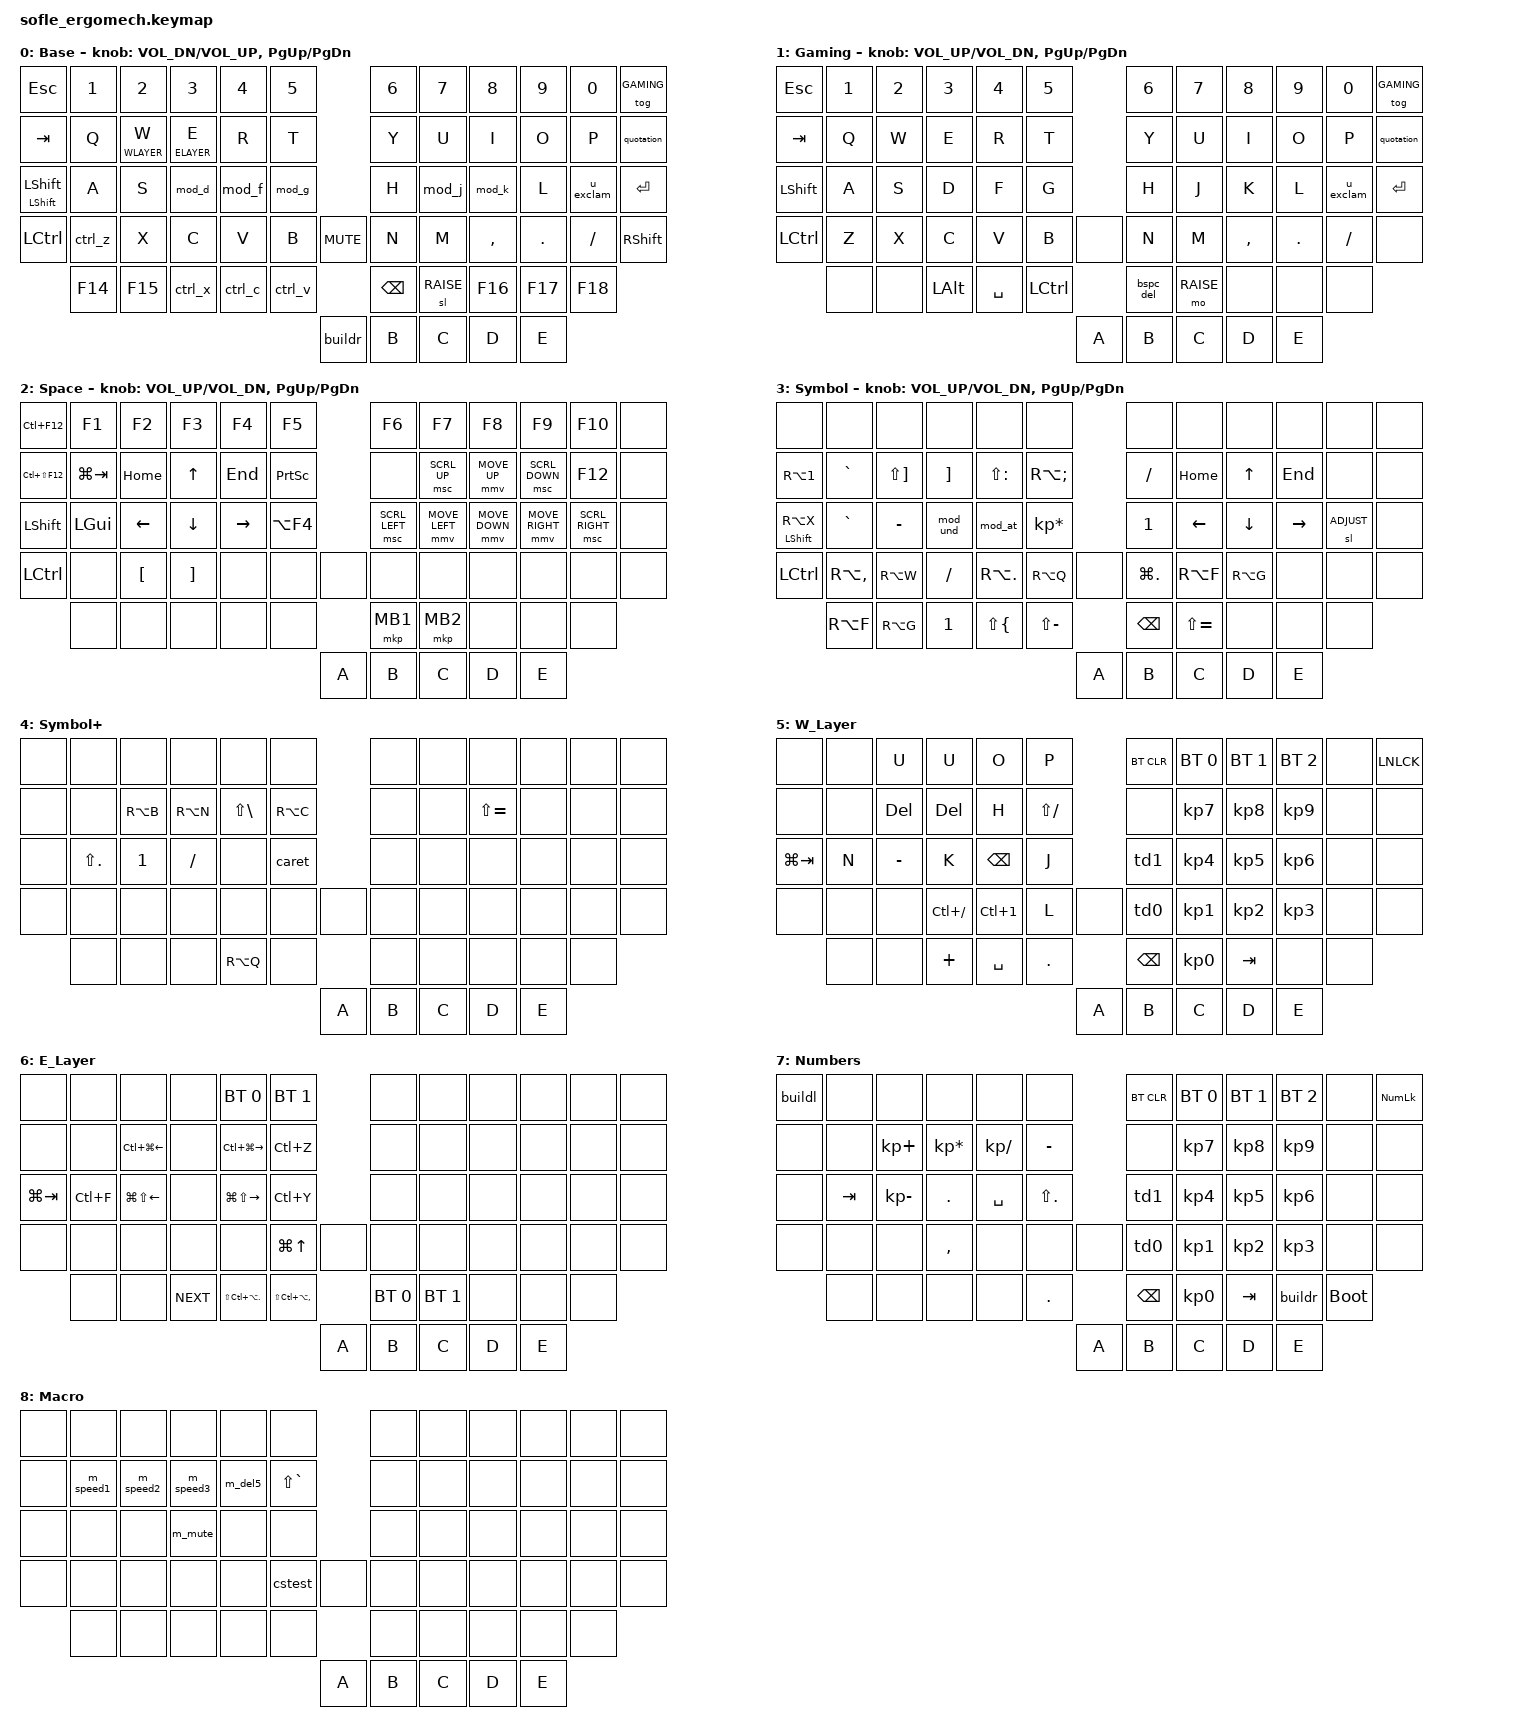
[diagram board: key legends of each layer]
/*
 * Copyright (c) 2020 The ZMK Contributors
 *
 * SPDX-License-Identifier: MIT
 */

#include <behaviors.dtsi>
#include <dt-bindings/zmk/keys.h>
#include <dt-bindings/zmk/bt.h>
#include <dt-bindings/zmk/rgb.h>
#include <dt-bindings/zmk/ext_power.h>

#define ZMK_POINTING_DEFAULT_MOVE_VAL 1000  // default: 600
#define ZMK_POINTING_DEFAULT_SCRL_VAL 500    // default: 10

#include <dt-bindings/zmk/pointing.h>

#define BASE 0
#define GAMING 1
#define LOWER 2
#define RAISE 3
#define ADJUST 4
#define WLAYER 5
#define ELAYER 6
#define NLAYER 7
#define MACRO 8

// Caps Word
&caps_word {
    continue-list = <UNDERSCORE MINUS LS(SLASH) BACKSPACE>;
};

// Layer Tap
&lt {
    quick-tap-ms = <200>;
    tapping-term-ms = <200>;
};

// Sticky key
&sk {
    release-after-ms = <2000>;
    quick-release;
    /delete-property/ ignore-modifiers;
};

// Mouse Movement
&mmv {
    x-input-code = <INPUT_REL_X>;
    y-input-code = <INPUT_REL_Y>;
    time-to-max-speed-ms = <200>;
    acceleration-exponent = <1>;
};

// Mouse Scroll
&msc {
    x-input-code = <INPUT_REL_HWHEEL>;
    y-input-code = <INPUT_REL_WHEEL>;
    time-to-max-speed-ms = <1000>;
    acceleration-exponent = <2>;
};

/ {
    combos {
        compatible = "zmk,combos";
        combo_rename {
            timeout-ms = <50>;
            key-positions = <1 2>;
            bindings = <&kp F2>;
        };

        combo_m {
            timeout-ms = <25>;
            key-positions = <15 16>;
            bindings = <&kp M>;
            layers = <0 2 3 4 5 6>;  
        };

        combo_off {
            timeout-ms = <25>;
            key-positions = <0 11>;
            bindings = <&kp C_POWER>;
        };

        combo_o {
            timeout-ms = <50>;
            key-positions = <26 28>;
            bindings = <&kp O>;
            layers = <0 2 3 4 5 6>;  
        };

        combo_i {
            timeout-ms = <50>;
            key-positions = <26 27 28>;
            bindings = <&kp I>;
            layers = <0 2 3 4 5 6>;  
        };

        combo_task {
            timeout-ms = <50>;
            key-positions = <5 6>;
            bindings = <&kp LC(LS(ESC))>;
        };
        
        combo_f10 {
            timeout-ms = <50>;
            key-positions = <3 4 5>;
            bindings = <&kp F10>;
        };

        combo_sound {
            timeout-ms = <50>;
            key-positions = <25 29>;
            bindings = <&kp LG(A)>;
        };
        
        combo_lock {
            timeout-ms = <50>;
            key-positions = <10 11>;
            bindings = <&kp LG(L)>;
        };

        combo_ctrl_t {
            timeout-ms = <50>;
            key-positions = <17 53>;
            bindings = <&kp LC(T)>;
        };

        combo_win_e {
            timeout-ms = <50>;
            key-positions = <15 53>;
            bindings = <&kp LG(E)>;
            layers = <0 2 3 4 5 6>;  
        };

        combo_esc {
            timeout-ms = <50>;
            key-positions = <15 26 28>;
            bindings = <&kp F5>;
            layers = <0 2 3 4 5 6>;  
        };

        combo_we {
            timeout-ms = <30>;
            key-positions = <14 15>;
            bindings = <&kp ESC>;
            layers = <0 2 3 4 5 6>; 
        };

        combo_al {
            timeout-ms = <30>;
            key-positions = <25 33>;
            bindings = <&caps_word>;
        };

        combo_wk {
            timeout-ms = <50>;
            key-positions = <14 32>;
            bindings = <&kp TAB>;
        };

        combo_wl {
            timeout-ms = <50>;
            key-positions = <14 33>;
            bindings = <&kp CAPS>; 
        };

        combo_45 {
            timeout-ms = <50>;
            key-positions = <4 5>;
            bindings = <&kp LC(LS(ESC))>;
        };

        combo_f24 {
            timeout-ms = <50>;
            key-positions = <14 15 16>;
            bindings = <&kp F24>;
        };

        combo_sticky {
            timeout-ms = <50>;
            key-positions = <13 14>;
            bindings = <&sl MACRO>;
        };

        combo_prscrn {
            timeout-ms = <50>;
            key-positions = <16 17>;
            bindings = <&kp PSCRN>;
        };

    };
};

/ {
    macros {
        m_speed1: m_speed1 {
            compatible = "zmk,behavior-macro";
            #binding-cells = <0>;
            wait-ms = <200>;
            tap-ms = <20>;
            bindings
                = <&macro_tap &kp LS(R)>
                ,<&macro_wait_time 20>
                ,<&macro_tap &kp KP_N2 &kp KP_N0 &kp KP_N0>
                ,<&macro_wait_time 20>
                ,<&macro_tap &kp ENTER>
                ,<&macro_wait_time 20>
                ,<&macro_tap &kp LS(LC(LA(O)))>
                ,<&macro_tap &kp LS(LC(LA(O)))>
                ,<&macro_tap &kp LS(LC(LA(O)))>
                ,<&macro_tap &kp LS(LC(LA(O)))>
                ,<&macro_tap &kp LS(LC(LA(O)))>
                ,<&macro_tap &kp LS(LC(LA(O)))>
                ,<&macro_tap &kp LS(LC(LA(O)))>
                ,<&macro_tap &kp LS(LC(LA(O)))>
                ,<&macro_tap &kp LS(LC(LA(O)))>
                ,<&macro_tap &kp LS(LC(LA(O)))>
                ,<&macro_tap &kp LS(LC(LA(O)))>
                ;
        };
            m_speed2: m_speed2 {
            compatible = "zmk,behavior-macro";
            #binding-cells = <0>;
            wait-ms = <200>;
            tap-ms = <20>;
            bindings
                = <&macro_tap &kp LS(R)>
                ,<&macro_wait_time 20>
                ,<&macro_tap &kp KP_N4 &kp KP_N0 &kp KP_N0>
                ,<&macro_wait_time 20>
                ,<&macro_tap &kp ENTER>
                ,<&macro_wait_time 20>
                ,<&macro_tap &kp LS(LC(LA(O)))>
                ,<&macro_tap &kp LS(LC(LA(O)))>
                ,<&macro_tap &kp LS(LC(LA(O)))>
                ,<&macro_tap &kp LS(LC(LA(O)))>
                ,<&macro_tap &kp LS(LC(LA(O)))>
                ,<&macro_tap &kp LS(LC(LA(O)))>
                ,<&macro_tap &kp LS(LC(LA(O)))>
                ,<&macro_tap &kp LS(LC(LA(O)))>
                ,<&macro_tap &kp LS(LC(LA(O)))>
                ,<&macro_tap &kp LS(LC(LA(O)))>
                ,<&macro_tap &kp LS(LC(LA(O)))>
                ;
        };
            m_speed3: m_speed3 {
            compatible = "zmk,behavior-macro";
            #binding-cells = <0>;
            wait-ms = <200>;
            tap-ms = <20>;
            bindings
                = <&macro_tap &kp LS(R)>
                ,<&macro_wait_time 20>
                ,<&macro_tap &kp KP_N8 &kp KP_N0 &kp KP_N0>
                ,<&macro_wait_time 20>
                ,<&macro_tap &kp ENTER>
                ,<&macro_wait_time 20>
                ,<&macro_tap &kp LS(LC(LA(O)))>
                ,<&macro_tap &kp LS(LC(LA(O)))>
                ,<&macro_tap &kp LS(LC(LA(O)))>
                ,<&macro_tap &kp LS(LC(LA(O)))>
                ,<&macro_tap &kp LS(LC(LA(O)))>
                ,<&macro_tap &kp LS(LC(LA(O)))>
                ,<&macro_tap &kp LS(LC(LA(O)))>
                ,<&macro_tap &kp LS(LC(LA(O)))>
                ,<&macro_tap &kp LS(LC(LA(O)))>
                ,<&macro_tap &kp LS(LC(LA(O)))>
                ,<&macro_tap &kp LS(LC(LA(O)))>
                ;
        };
            m_del5: m_del5 {
            compatible = "zmk,behavior-macro";
            #binding-cells = <0>;
            wait-ms = <20>;
            tap-ms = <20>;
            bindings
                = 
                <&macro_tap &kp LS(LC(LA(L)))>
                ,<&macro_tap &kp RIGHT>
                ,<&macro_tap &kp RIGHT>
                ,<&macro_tap &kp RIGHT>
                ,<&macro_tap &kp RIGHT>
                ,<&macro_tap &kp RIGHT>
                ,<&macro_tap &kp Q>
                ,<&macro_tap &kp LEFT>
                ,<&macro_tap &kp LEFT>
                ,<&macro_tap &kp LEFT>
                ,<&macro_tap &kp LEFT>
                ,<&macro_tap &kp LEFT>
                ,<&macro_tap &kp LEFT>
                ,<&macro_tap &kp LEFT>
                ,<&macro_tap &kp LEFT>
                ,<&macro_tap &kp LEFT>
                ,<&macro_tap &kp LEFT>
                ,<&macro_tap &kp LEFT>
                ,<&macro_tap &kp LEFT>
                ,<&macro_tap &kp LEFT>
                ,<&macro_tap &kp LEFT>
                ,<&macro_tap &kp LEFT>
                ,<&macro_tap &kp LEFT>
                ,<&macro_tap &kp SPACE>
                ;
        };
            m_mute: m_mute {
            compatible = "zmk,behavior-macro";
            #binding-cells = <0>;
            wait-ms = <20>;
            tap-ms = <20>;
            bindings
                = 
                <&macro_tap &kp LS(LC(LA(O)))>
                ,<&macro_tap &kp LS(LC(LA(O)))>
                ,<&macro_tap &kp LS(LC(LA(O)))>
                ,<&macro_tap &kp LS(LC(LA(O)))>
                ,<&macro_tap &kp LS(LC(LA(O)))>
                ,<&macro_tap &kp LS(LC(LA(O)))>
                ,<&macro_tap &kp LS(LC(LA(O)))>
                ,<&macro_tap &kp LS(LC(LA(O)))>
                ,<&macro_tap &kp LS(LC(LA(O)))>
                ,<&macro_tap &kp LS(LC(LA(O)))>
                ,<&macro_tap &kp LS(LC(LA(O)))>
                ;
        };
            caret: caret {
            compatible = "zmk,behavior-macro";
            #binding-cells = <0>;
            wait-ms = <1>;
            tap-ms = <1>;
            bindings
            = <&macro_press &kp LALT>
            , <&macro_tap &kp KP_N9 &kp KP_N4>
            , <&macro_release &kp LALT>
            ;

        };

            buildl: buildl {
            compatible = "zmk,behavior-macro";
            #binding-cells = <0>;
            wait-ms = <40>;
            tap-ms = <40>;
            bindings
            = <&macro_tap &kp LS(LC(LA(LEFT)))>
            , <&macro_tap &bootloader>
            ;

        };

            buildr: buildr {
            compatible = "zmk,behavior-macro";
            #binding-cells = <0>;
            wait-ms = <100>;
            tap-ms = <100>;
            bindings
            = <&macro_tap &kp LS(LC(LA(RIGHT)))>
            ;

        };
            cstest: cstest {
            compatible = "zmk,behavior-macro";
            #binding-cells = <0>;
            wait-ms = <40>;
            tap-ms = <40>;
            bindings
                = 
                <&macro_tap &kp N1>
                ,<&macro_tap &kp DOT &kp B &kp K &kp K &kp ENTER>
                ,<&macro_tap &kp DOT &kp F &kp T &kp M &kp ENTER>
                ,<&macro_tap &kp DOT &kp M &kp P &kp I &kp ENTER>
                 ;
        };


    };
};

/ {
    

    behaviors {
        bhm: balanced_homerow_mods {
            compatible = "zmk,behavior-hold-tap";
            #binding-cells = <2>;
            tapping-term-ms = <150>;    // <---[[moderate duration]]
            quick-tap-ms = <200>;
            //require-prior-idle-ms = <125>;
            flavor = "balanced";
            bindings = <&kp>, <&kp>;
            hold-while-undecided;
        };
    };

        behaviors {
        ebhm: enhanced_balanced_homerow_mods {
            compatible = "zmk,behavior-hold-tap";
            #binding-cells = <2>;
            tapping-term-ms = <150>;    // <---[[moderate duration]]
            quick-tap-ms = <200>;
            //require-prior-idle-ms = <125>;
            flavor = "balanced";
            bindings = <&kp>, <&sl>;
            hold-while-undecided;
        };
    };

    behaviors {
        lkp: layer_keypress {
            compatible = "zmk,behavior-hold-tap";
            #binding-cells = <2>;
            tapping-term-ms = <200>;    // <---[[moderate duration]]
            quick-tap-ms = <200>;
            require-prior-idle-ms = <125>;
            flavor = "tap-preferred";
            bindings = <&mo>, <&kp>;
        };
    };

    behaviors {
        lshift: lshift_hold_tap {
            compatible = "zmk,behavior-hold-tap";
            #binding-cells = <2>;
            flavor = "balanced";
            tapping-term-ms = <400>;
            quick-tap-ms = <200>;
            bindings = <&kp>, <&sk>;
        };
    };
    
    behaviors {
        td0: tap_dance_0 {
            compatible = "zmk,behavior-tap-dance";
            #binding-cells = <0>;
            tapping-term-ms = <300>;
            bindings = <&kp KP_MULTIPLY>, <&kp KP_DIVIDE>;
        };
    };

    behaviors {
        td1: tap_dance_1 {
            compatible = "zmk,behavior-tap-dance";
            #binding-cells = <0>;
            tapping-term-ms = <300>;
            bindings = <&kp KP_MINUS>, <&kp KP_PLUS>; 
        };
    };

    behaviors {
        quotation: quotation {
            compatible = "zmk,behavior-mod-morph"; 
            #binding-cells = <0>;
            bindings = <&kp LS(BSLH)>, <&kp SEMI>;
            mods = <(MOD_LSFT|MOD_RSFT)>;
            keep-mods = <(MOD_LSFT)>;
        };
    };

    behaviors {
        bspc_hacek: backspace_hacek {
            compatible = "zmk,behavior-mod-morph";
            #binding-cells = <0>;
            bindings = <&kp ENTER>, <&kp EQUAL>;
            mods = <(MOD_LSFT|MOD_RSFT)>;
            keep-mods = <(MOD_LSFT)>;
        };
    };

    behaviors {
        u_exclam: u_exclam {
            compatible = "zmk,behavior-mod-morph";
            #binding-cells = <0>;
            bindings = <&kp SEMI>, <&kp SQT>;
            mods = <(MOD_LSFT|MOD_RSFT)>;
            keep-mods = <(MOD_LSFT)>;
        };
    };
    
    behaviors {
        ctrl_z: ctrl_z {
            compatible = "zmk,behavior-mod-morph";
            #binding-cells = <0>;
            bindings = <&kp Z>, <&kp Y>;
            mods = <(MOD_LCTL)>;
            keep-mods = <(MOD_LCTL)>;
        };
    }; 

    behaviors {
        ctrl_c: ctrl_c {
            compatible = "zmk,behavior-mod-morph";
            #binding-cells = <0>;
            bindings = <&lkp LOWER SPACE>, <&kp C>;
            mods = <(MOD_LCTL)>;
            keep-mods = <(MOD_LCTL)>;
        };
    };

    behaviors {
        bspc_del: bspc_del {
            compatible = "zmk,behavior-mod-morph";
            #binding-cells = <0>;
            bindings = <&kp BACKSPACE>, <&kp DEL>;
            mods = <(MOD_LSFT)>;
        };
    };

    //Ctrl V
    behaviors {
        ctrl_v: ctrl_v {
            compatible = "zmk,behavior-mod-morph";
            #binding-cells = <0>;
            bindings = <&bhm LALT ENTER>, <&kp V>;
            mods = <(MOD_LCTL)>;
            keep-mods = <(MOD_LCTL)>;
        };
    };
    
 behaviors {
        ctrl_x: ctrl_x {
            compatible = "zmk,behavior-mod-morph";
            #binding-cells = <0>;
            bindings = <&sl NLAYER>, <&kp X>;
            mods = <(MOD_LCTL)>;
            keep-mods = <(MOD_LCTL)>;
        };
    };

 behaviors {
        mod_f: mod_f {
            compatible = "zmk,behavior-mod-morph";
            #binding-cells = <0>;
            bindings = <&bhm LCTL F>, <&kp F>;
            mods = <(MOD_LSFT)>;
            keep-mods = <(MOD_LSFT)>;
        };
    };
    
 behaviors {
        mod_g: mod_g {
            compatible = "zmk,behavior-mod-morph";
            #binding-cells = <0>;
            bindings = <&bhm LC(LS(LALT)) G>, <&kp G>;
            mods = <(MOD_LGUI|MOD_LSFT|MOD_RGUI|MOD_RSFT|MOD_LCTL)>;
            keep-mods = <(MOD_LGUI|MOD_LSFT|MOD_RGUI|MOD_RSFT|MOD_LCTL)>;
        };
    };

 behaviors {
        mod_d: mod_d {
            compatible = "zmk,behavior-mod-morph";
            #binding-cells = <0>;
            bindings = <&bhm LSHFT D>, <&kp D>;
            mods = <(MOD_LSFT)>;
            keep-mods = <(MOD_LSFT)>;
        };
    };

 behaviors {
        mod_j: mod_j {
            compatible = "zmk,behavior-mod-morph";
            #binding-cells = <0>;
            bindings = <&bhm LCTL J>, <&kp J>;
            mods = <(MOD_LSFT)>;
            keep-mods = <(MOD_LSFT)>;
        };
    };

 behaviors {
        mod_k: mod_k {
            compatible = "zmk,behavior-mod-morph";
            #binding-cells = <0>;
            bindings = <&bhm LSHFT K>, <&kp K>;
            mods = <(MOD_LSFT)>;
            keep-mods = <(MOD_LSFT)>;
        };
    };
    
 behaviors {
        mod_at: mod_at {
            compatible = "zmk,behavior-mod-morph";
            #binding-cells = <0>;
            bindings = <&bhm LCTL RA(V)>, <&kp RA(V)>;
            mods = <(MOD_LSFT)>;
            keep-mods = <(MOD_LSFT)>;
        };
    };

 behaviors {
        mod_und: mod_und {
            compatible = "zmk,behavior-mod-morph";
            #binding-cells = <0>;
            bindings = <&bhm LSFT LS(SLASH)>, <&kp LS(SLASH)>;
            mods = <(MOD_LSFT)>;
            keep-mods = <(MOD_LSFT)>;
        };
    };
    
 

   // Activate ADJUST layer by pressing raise and lower
    //conditional_layers {
    //    compatible = "zmk,conditional-layers";
    //    adjust_layer {
    //        if-layers = <LOWER RAISE>;
    //        then-layer = <ADJUST>;
    //    };
    //}; 

    keymap {
        compatible = "zmk,keymap";

        default_layer {
            display-name = "Base";
            
// ------------------------------------------------------------------------------------------------------------
// |   `   |  1  |  2  |  3   |  4   |  5   |                   |  6   |  7    |  8    |  9   |   0   |       |
// |  ESC  |  Q  |  W  |  E   |  R   |  T   |                   |  Y   |  U    |  I    |  O   |   P   | BKSPC |
// |  TAB  |  A  |  S  |  D   |  F   |  G   |                   |  H   |  J    |  K    |  L   |   ;   |   '   |
// | SHIFT |  Z  |  X  |  C   |  V   |  B   |  MUTE  |  |       |  N   |  M    |  ,    |  .   |   /   | SHIFT |
//               | GUI | ALT  | CTRL | LOWER|  ENTER |  | SPACE | RAISE| CTRL  | ALT   | GUI  |
            bindings = <
&kp ESC             &kp N1       &kp N2       &kp N3         &kp N4       &kp N5                            &kp N6          &kp N7      &kp N8    &kp N9    &kp N0     &tog GAMING
&kp TAB             &kp Q        &lt WLAYER W &lt ELAYER E   &kp R        &kp T                             &kp Y           &kp U       &kp I     &kp O     &kp P      &quotation
&lshift LSHFT LSHFT &kp A        &kp S        &mod_d         &mod_f       &mod_g                            &kp H           &mod_j      &mod_k    &kp L     &u_exclam  &kp ENTER
&kp LCTRL           &ctrl_z      &kp X        &kp C          &kp V        &kp B            &kp C_MUTE       &kp N           &kp M       &kp COMMA &kp DOT   &kp FSLH   &kp RSHFT
                       &kp F14      &kp F15    &ctrl_x      &ctrl_c  &ctrl_v                            &kp BSPC        &sl RAISE   &kp F16 &kp F17 &kp F18
                                                                                     &buildr     &kp B  &kp C &kp D  &kp E
            >;

            sensor-bindings = <&inc_dec_kp C_VOL_DN C_VOL_UP &inc_dec_kp PG_UP PG_DN>;
        };

        gmng_layer {
            display-name = "Gaming";
// ----------------------------------------------------------------------------------------------------------------------------
// |        |         |         |         |         |         |                  |      |      |       |      |       |       |
// |        |         |         |         |         |         |                  |      |      |       |      |       |       |
// |        |         |         |         |         |         |                  |      |      |       |      |       |       |
// |        |         |         |         |         |         |         | |      |      |      |       |      |       |       |
//                    |         |         |         |         |         | |      |      |      |       |      |

            bindings = <
&kp ESC           &kp N1          &kp N2          &kp N3          &kp N4          &kp N5                                            &kp N6          &kp N7          &kp N8          &kp N9          &kp N0          &tog GAMING
&kp TAB           &kp Q           &kp W           &kp E           &kp R           &kp T                                             &kp Y           &kp U           &kp I           &kp O           &kp P           &quotation
&kp LSHFT         &kp A           &kp S           &kp D           &kp F           &kp G                                             &kp H           &kp J           &kp K           &kp L           &u_exclam       &kp ENTER
&kp LCTL          &kp Z           &kp X           &kp C           &kp V           &kp B            &none                            &kp N           &kp M           &kp COMMA       &kp DOT         &kp FSLH        &none
                                  &none            &none            &kp LALT           &kp SPACE   &kp LCTL         &bspc_del       &mo RAISE       &none           &none           &none
                                                                                                                    &kp A      &kp B  &kp C &kp D  &kp E
            >;

            sensor-bindings = <&inc_dec_kp C_VOL_UP C_VOL_DN &inc_dec_kp PG_UP PG_DN>;
        };

        lower_layer {
            display-name = "Space";
// ----------------------------------------------------------------------------------------------------------------------------
// |        |         |         |         |         |         |                  |      |      |       |      |       |       |
// |        |         |         |         |         |         |                  |      |      |       |      |       |       |
// |        |         |         |         |         |         |                  |      |      |       |      |       |       |
// |        |         |         |         |         |         |         | |      |      |      |       |      |       |       |
//                    |         |         |         |         |         | |      |      |      |       |      |

            bindings = <
&kp LC(F12)       &kp F1          &kp F2          &kp F3          &kp F4          &kp F5                                            &kp F6          &kp F7          &kp F8          &kp F9          &kp F10         &none
&kp LC(LS(F12))   &kp LG(TAB)     &kp HOME        &kp UP          &kp END         &kp PSCRN                                         &none           &msc SCRL_UP    &mmv MOVE_UP    &msc SCRL_DOWN  &kp F12         &none
&kp LSHFT         &kp LGUI        &kp LEFT        &kp DOWN        &kp RIGHT       &kp LA(F4)                                        &msc SCRL_LEFT  &mmv MOVE_LEFT  &mmv MOVE_DOWN  &mmv MOVE_RIGHT &msc SCRL_RIGHT &none
&kp LCTL          &none           &kp LBKT        &kp RBKT        &none           &none            &none                            &none           &none           &none           &none           &none           &none
                                  &none           &none           &none           &none            &none           &mkp MB1         &mkp MB2        &none           &none           &none
                                                                                                                    &kp A      &kp B  &kp C &kp D  &kp E
            >;
            sensor-bindings = <&inc_dec_kp C_VOL_UP C_VOL_DN &inc_dec_kp PG_UP PG_DN>;
        };

        raise_layer {
            display-name = "Symbol";
// ----------------------------------------------------------------------------------------------------------------------------
// |        |         |         |         |         |         |                  |      |      |       |      |       |       |
// |        |         |         |         |         |         |                  |      |      |       |      |       |       |
// |        |         |         |         |         |         |                  |      |      |       |      |       |       |
// |        |         |         |         |         |         |         | |      |      |      |       |      |       |       |
//                    |         |         |         |         |         | |      |      |      |       |      |

            bindings = <
&none              &none           &none           &none           &none           &none                                             &none           &none           &none           &none           &none           &none 
&kp RA(N1)         &kp GRAVE       &kp LS(RBKT)    &kp RBKT        &kp LS(COLON)   &kp RA(SEMI)                                      &kp FSLH        &kp HOME        &kp UP          &kp END         &none           &none
&bhm LSHFT RA(X)   &kp GRAVE       &kp MINUS       &mod_und        &mod_at         &kp KP_MULTIPLY                                   &kp N1          &kp LEFT        &kp DOWN        &kp RIGHT       &sl ADJUST      &none
&kp LCTL           &kp RA(COMMA)   &kp RA(W)       &kp FSLH        &kp RA(DOT)     &kp RA(Q)        &none                            &kp LG(DOT)     &kp RA(F)       &kp RA(G)       &none           &none           &none
                                   &kp RA(F)       &kp RA(G)       &kp N1          &kp LS(LBRC)     &kp LS(MINUS)   &kp BACKSPACE    &kp LS(EQUAL)   &none           &none           &none
                                                                                                                    &kp A      &kp B  &kp C &kp D  &kp E
            >;

            sensor-bindings = <&inc_dec_kp C_VOL_UP C_VOL_DN &inc_dec_kp PG_UP PG_DN>;
        };

        adjust_layer {
            display-name = "Symbol+";
// ----------------------------------------------------------------------------------------------------------------------------
// |        |         |         |         |         |         |                  |      |      |       |      |       |       |
// |        |         |         |         |         |         |                  |      |      |       |      |       |       |
// |        |         |         |         |         |         |                  |      |      |       |      |       |       |
// |        |         |         |         |         |         |         | |      |      |      |       |      |       |       |
//                    |         |         |         |         |         | |      |      |  =   |       |      |

            bindings = <
&none             &none           &none           &none           &none           &none                                             &none           &none           &none           &none           &none           &none
&none             &none           &kp RA(B)       &kp RA(N)       &kp LS(BSLH)    &kp RA(C)                                         &none           &none           &kp LS(EQUAL)   &none           &none           &none
&none             &kp LS(DOT)     &kp N1          &kp FSLH        &none           &caret                                            &none           &none           &none           &none           &none           &none
&none             &none           &none           &none           &none           &none            &none                            &none           &none           &none           &none           &none           &none
                                  &none           &none           &none           &kp RA(Q)        &none           &none            &none           &none           &none           &none
                                                                                                                    &kp A      &kp B  &kp C &kp D  &kp E
            >;
        };

        w_layer {
            display-name = "W_Layer";
// ----------------------------------------------------------------------------------------------------------------------------
// |        |         |    U    |    U    |    O    |    P    |                  |  BT_CLR |  BT_SEL 0 |  BT_SEL 1 |  BT_SEL 2 |         | NUMLCK |
// |        |         |   DEL   |   DEL   |    H    | LS(SLASH)|                 |         |  KP_N7   |  KP_N8    |  KP_N9    |         |        |
// | LG(TAB)|    N    |  MINUS  |    K    |  BSPC   |    J    |                  |   td1   |  KP_N4   |  KP_N5    |  KP_N6    |         |        |
// |        |         |         | LC(FSLH)| LC(N1)  |    L    |         | |      |   td0   |  KP_N1   |  KP_N2    |  KP_N3    |         |git_macro|
//                    |         |         |  PLUS   |  SPACE  |   DOT   | | BSPC |  KP_N0  |   TAB    |           |           |

            bindings = <
&none             &none           &kp U           &kp U           &kp O           &kp P                                             &bt BT_CLR      &bt BT_SEL 0    &bt BT_SEL 1    &bt BT_SEL 2    &none           &kp LNLCK
&none             &none           &kp DEL         &kp DEL         &kp H           &kp LS(SLASH)                                     &none           &kp KP_N7       &kp KP_N8       &kp KP_N9       &none           &none
&kp LG(TAB)       &kp N           &kp MINUS       &kp K           &kp BSPC        &kp J                                             &td1            &kp KP_N4       &kp KP_N5       &kp KP_N6       &none           &none
&none             &none           &none           &kp LC(FSLH)    &kp LC(N1)      &kp L            &none                            &td0            &kp KP_N1       &kp KP_N2       &kp KP_N3       &none           &none
                                  &none           &none           &kp PLUS        &kp SPACE        &kp DOT         &kp BSPC         &kp KP_N0       &kp TAB         &none           &none
                                                                                                                    &kp A      &kp B  &kp C &kp D  &kp E
            >;
        };
        
        e_layer {
            display-name = "E_Layer";
// ----------------------------------------------------------------------------------------------------------------------------
// |        |         |         |         |         |         |                  |      |      |       |      |       |       |
// |        |         |         |         |         |         |                  |      |      |       |      |       |       |
// |        |         |         |         |         |         |                  |      |      |       |      |       |       |
// |        |         |         |         |         |         |         | |      |      |      |       |      |       |       |
//                    |         |         |         |         |         | |      |      |      |       |      |clo

            bindings = <
&none             &none           &none            &none            &bt BT_SEL 0      &bt BT_SEL 1                                        &none           &none           &none           &none           &none           &none
&none             &none           &kp LC(LG(LEFT)) &none            &kp LC(LG(RIGHT)) &kp LC(Z)                                           &none           &none           &none           &none           &none           &none
&kp LG(TAB)       &kp LC(F)       &kp LG(LS(LEFT)) &none            &kp LG(LS(RIGHT)) &kp LC(Y)                                           &none           &none           &none           &none           &none           &none
&none             &none           &none            &none            &none             &kp LG(UP)    &none                                 &none           &none           &none           &none           &none           &none
                                  &none            &none            &kp C_NEXT        &kp LS(LC(LA(DOT)))          &kp LS(LC(LA(COMMA)))      &bt BT_SEL 0     &bt BT_SEL 1    &none           &none           &none
                                                                                                                    &kp A      &kp B  &kp C &kp D  &kp E
            >;
        };

        num_layer {
            display-name = "Numbers";
// ----------------------------------------------------------------------------------------------------------------------------
// |        |         |         |         |         |         |                  |      |      |       |      |       |       |
// |        |         |         |         |         |         |                  |      |      |       |      |       |       |
// |        |         |         |         |         |         |                  |      |      |       |      |       |       |
// |        |         |         |         |         |         |         | |      |      |      |       |      |       |       |
//                    |         |         |         |         |         | |      |      |      |       |      |

            bindings = <
&buildl           &none           &none          &none           &none         &none                                             &bt BT_CLR      &bt BT_SEL 0    &bt BT_SEL 1    &bt BT_SEL 2    &none           &kp KP_NUM
&none             &none           &kp KP_PLUS    &kp KP_MULTIPLY &kp KP_DIVIDE &kp MINUS                                         &none           &kp KP_N7       &kp KP_N8       &kp KP_N9       &none           &none
&none             &kp TAB         &kp KP_MINUS   &kp DOT         &kp SPACE     &kp LS(DOT)                                       &td1            &kp KP_N4       &kp KP_N5       &kp KP_N6       &none           &none
&none             &none           &none          &kp COMMA       &none         &none            &none                            &td0            &kp KP_N1       &kp KP_N2       &kp KP_N3       &none           &none
                                  &none           &none          &none         &none            &kp DOT         &kp BSPC         &kp KP_N0       &kp TAB         &buildr         &bootloader
                                                                                                                    &kp A      &kp B  &kp C &kp D  &kp E
            >;
        };

        macro_layer {
            display-name = "Macro";
// ----------------------------------------------------------------------------------------------------------------------------
// |        |         |         |         |         |         |                  |      |      |       |      |       |       |
// |        |         |         |         |         |         |                  |      |      |       |      |       |       |
// |        |         |         |         |         |         |                  |      |      |       |      |       |       |
// |        |         |         |         |         |         |         | |      |      |      |       |      |       |       |
//                    |         |         |         |         |         | |      |      |      |       |      |

            bindings = <
&none             &none           &none          &none           &none         &none                                             &none      &none     &none     &none      &none        &none
&none             &m_speed1       &m_speed2      &m_speed3       &m_del5       &kp LS(GRAVE)                                     &none      &none     &none     &none      &none        &none
&none             &none           &none          &m_mute         &none         &none                                             &none      &none     &none     &none      &none        &none
&none             &none           &none          &none           &none         &cstest          &none                            &none      &none     &none     &none      &none        &none
                                  &none          &none           &none         &none            &none           &none            &none      &none     &none     &none
                                                                                                                    &kp A      &kp B  &kp C &kp D  &kp E
            >;
        };
    };
};
